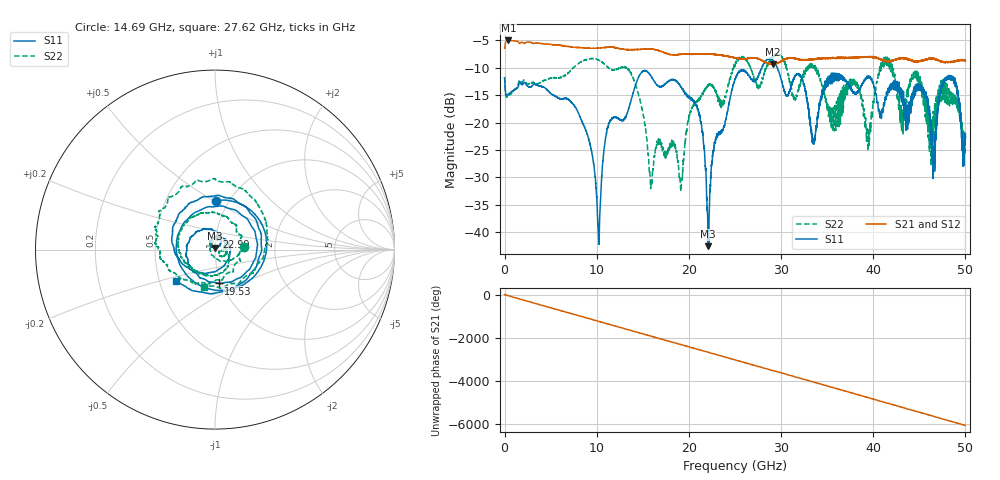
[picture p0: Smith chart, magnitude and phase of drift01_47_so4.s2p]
!Created with skrf (http://scikit-rf.org).
# Hz S RI R 50.0
!freq ReS11 ImS11 ReS21 ImS21 ReS12 ImS12 ReS22 ImS22
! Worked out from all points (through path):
!   10001 points, 300 kHz to 50 GHz, reference 50 ohm
!   highest |S21| = -5.05 dB at 405.3 MHz (marker M1); lowest = -9.4 dB at 29.1 GHz (marker M2)
!   group delay of S21, straight-line fit = 336 ps
!   lowest |S11| = -42.5 dB at 22.09 GHz (marker M3), VSWR 1.02, Z = 49.9 + j0.743 ohm
!   |S11| at or under -10 dB: start of sweep to 27.92 GHz; 29.59 GHz to end of sweep
!   |S22| runs from -32.3 to -7.4 dB; largest |S21 - S12| = 0.013
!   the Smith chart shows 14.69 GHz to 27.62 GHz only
!   S11 on the Smith chart (normalised r, x): 14.69 GHz: 0.87, +0.52; 19.53 GHz: 0.97, -0.38; 22.99 GHz: 1.01, +0.14; 27.62 GHz: 0.61, -0.23
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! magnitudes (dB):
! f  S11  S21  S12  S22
! 300 kHz  -11.8  -6.4  -6.5  -11.7
! 405.3 MHz  -14.9  -5.1  -5.1  -15.1
! 8.335 GHz  -19.6  -6.4  -6.4  -8.9
! 10.21 GHz  -41.6  -6.4  -6.4  -8.6
! 11.23 GHz  -20.7  -6.3  -6.3  -10.0
! 14.69 GHz  -11.3  -6.7  -6.7  -15.9
! 15.88 GHz  -11.5  -6.6  -6.6  -31.1
! 16.67 GHz  -13.3  -6.9  -6.9  -23.3
! 19.53 GHz  -14.4  -7.5  -7.5  -24.5
! 21.2 GHz  -18.8  -7.5  -7.5  -15.6
! 22.09 GHz  -42.5  -7.5  -7.5  -13.4
! 22.99 GHz  -22.8  -7.6  -7.6  -14.8
! 25 GHz  -12.1  -8.2  -8.3  -9.5
! 27.62 GHz  -11.1  -8.4  -8.4  -13.2
! 29.1 GHz  -8.7  -9.4  -9.4  -7.9
! 33.34 GHz  -22.7  -8.5  -8.5  -9.5
! 39.48 GHz  -11.5  -8.1  -8.1  -21.6
! 41.67 GHz  -13.9  -8.9  -8.8  -8.9
! 45.35 GHz  -13.7  -8.7  -8.7  -14.4
! 46.55 GHz  -27.3  -8.3  -8.3  -20.1
! 48.49 GHz  -11.5  -9.0  -9.0  -15.5
! 50 GHz  -22.6  -8.7  -8.7  -23.1
